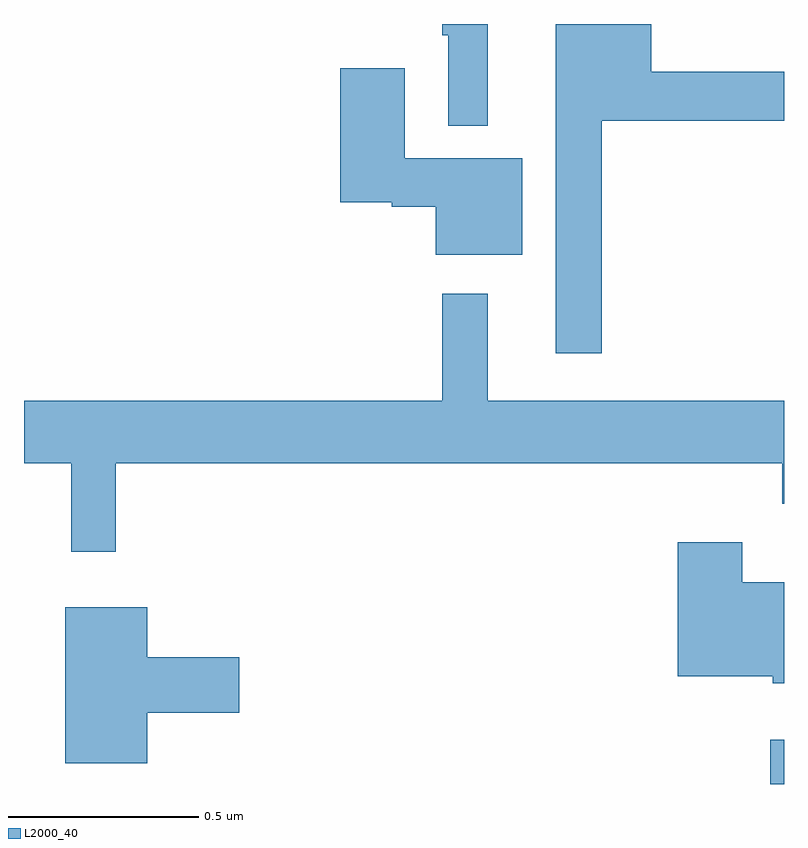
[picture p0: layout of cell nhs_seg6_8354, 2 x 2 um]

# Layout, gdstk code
import gdstk
lib = gdstk.Library(unit=1e-6, precision=1e-09)
def R(c, l, rs):  # rectangles x0, y0, x1, y1
    for r in rs: c.add(gdstk.rectangle(r[:2], r[2:], *l))
def P(c, l, *ps):  # polygons
    for p in ps: c.add(gdstk.Polygon(p, *l))
L2000_40 = (2000, 40)

nhs_seg6_8354 = lib.new_cell('nhs_seg6_8354')
R(nhs_seg6_8354, L2000_40, [(221.964,938.5,222,938.617)])
P(nhs_seg6_8354, L2000_40, [(221.221,940.5),(221.1,940.5),(221.1,940.471),(221.117,940.471),(221.117,940.232),(221.221,940.232)],
  [(221.521,940.246),(222,940.246),(222,940.375),(221.65,940.375),(221.65,940.5),(221.399,940.5),(221.399,939.633),(221.521,939.633)],
  [(221.311,940.147),(221.002,940.147),(221.002,940.384),(220.832,940.384),(220.832,940.031),(220.968,940.031),(220.968,940.019),(221.084,940.019),(221.084,939.893),(221.311,939.893)],
  [(220.241,939.344),(221.995,939.344),(221.995,939.237),(222,939.237),(222,939.508),(221.221,939.508),(221.221,939.79),(221.1,939.79),(221.1,939.508),(220,939.508),(220,939.344),(220.124,939.344),(220.124,939.111),(220.241,939.111)],
  [(222,939.031),(221.89,939.031),(221.89,939.136),(221.72,939.136),(221.72,938.783),(221.97,938.783),(221.97,938.765),(222,938.765)],
  [(220.324,938.687),(220.567,938.687),(220.567,938.834),(220.324,938.834),(220.324,938.965),(220.109,938.965),(220.109,938.555),(220.324,938.555)])

lib.write_gds('nhs_seg6_8354.gds')
